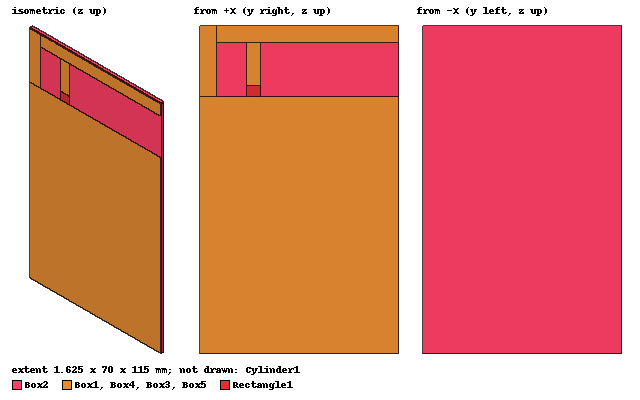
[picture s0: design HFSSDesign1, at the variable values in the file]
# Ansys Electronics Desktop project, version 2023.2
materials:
  vacuum: permittivity=1
  copper: permeability=0.999991 conductivity=58000000
  FR4_epoxy: permittivity=4.4 dielectric_loss_tangent=0.02
  Rogers RO3003 (tm): permittivity=3 dielectric_loss_tangent=0.0013
  Rogers TMM 10 (tm): permittivity=9.2 dielectric_loss_tangent=0.0022
  Rogers TMM 4 (tm): permittivity=4.5 dielectric_loss_tangent=0.002

design HFSSDesign1 (HFSS, HFSS Terminal Network, model units mm)
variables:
  IU = 25
  xval = 0.025mm
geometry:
  Box1 [copper] = box(corner=(0mm, 0mm, 0mm), size=(xval, 70mm, 90mm))
  Box2 [Rogers TMM 4 (tm)] = box(corner=(0mm, 0mm, 0mm), size=(-1.6mm, 70mm, 115mm))
  Box3 [copper] = box(corner=(0mm, 0mm, 90mm), size=(xval, 6mm, 25mm))
  Box4 [copper] = box(corner=(0mm, 6mm, 109mm), size=(xval, 64mm, 6mm))
  Box5 [copper] = box(corner=(0mm, 16.5mm, 90mm), size=(xval, 5.0195mm, 19mm))
  Rectangle1 = rectangle(corner=(xval, 16.5mm, 90mm), y_size=5mm, z_size=4mm)
  Cylinder1 [vacuum] = cylinder(axis=Z, base_centre=(0mm, 35mm, -81.5mm), radius=150mm, height=450mm)
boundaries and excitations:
  Rad1: Radiation Objects=Cylinder1
  Port1: Lumped Port Objects=Rectangle1 LumpedPortType=Modal Modes{Mode1{IntLine{(0.025, 19, 90) -> (0.025, 19, 94)} CharImp=Zpi}} Impedance=50ohm
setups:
  Setup2: HfssDriven Frequency=1.5GHz MaxDeltaS=0.02 MaximumPasses=6 MinimumPasses=1 MinimumConvergedPasses=1 PercentRefinement=30 BasisOrder=1 PortAccuracy=2 DrivenSolverType="Direct Solver"
    sweep Sweep: 0.2GHz to 5GHz, 1000 points; Type=Fast SaveFields
  Setup3: HfssDriven Frequency=1GHz MaxDeltaS=0.02 MaximumPasses=6 MinimumPasses=1 MinimumConvergedPasses=1 PercentRefinement=30 BasisOrder=1 PortAccuracy=2 DrivenSolverType="Direct Solver"
    sweep Sweep: 0.5GHz to 3GHz, 1000 points; Type=Fast SaveFields
  Setup4: HfssDriven Frequency=0.92GHz MaxDeltaS=0.02 MaximumPasses=6 MinimumPasses=1 MinimumConvergedPasses=1 PercentRefinement=30 BasisOrder=1 PortAccuracy=2 DrivenSolverType="Direct Solver"
    sweep Sweep: 0.46GHz to 1.38GHz, 401 points; Type=Interpolating InterpTolerance=0.5 InterpMaxSolns=250 PassivityErrorTolerance=0.0001
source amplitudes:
  Port1:1: 1V 0deg
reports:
  S Parameter Plot 2: dB(S(Port1,Port1)) vs Freq on Setup2 : Sweep; markers MX1 at x=9.0148452e+08
  S Parameter Plot 3: dB(S(Port1,Port1)) vs Freq on Setup3 : Sweep; markers MX1 at x=1.0546975e+09
  S Parameter Plot 4: dB(S(Port1,Port1)) vs Freq on Setup4 : Sweep; markers m1 at 0.8809GHz, m2 at 0.8326GHz, MX1 at x=4e+08
